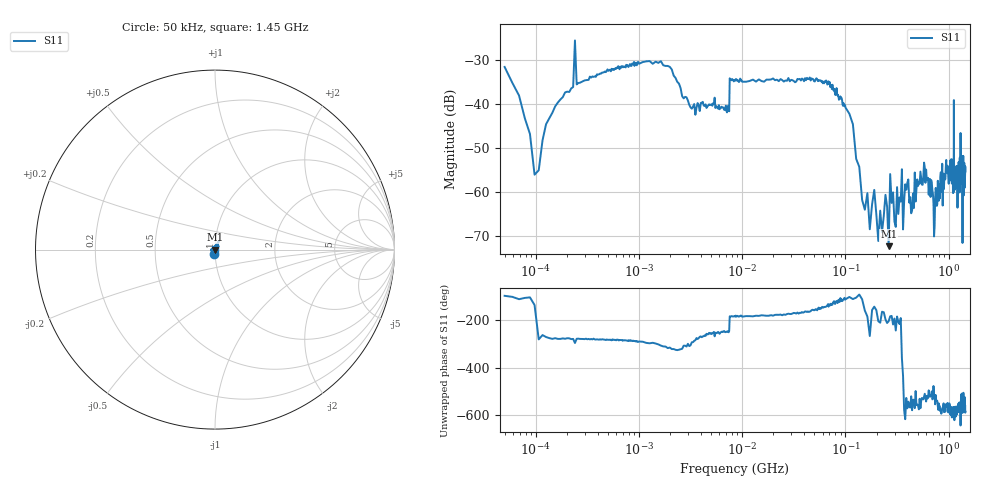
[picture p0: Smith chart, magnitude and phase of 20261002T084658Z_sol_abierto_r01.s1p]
! piloto_deriva / sol_abierto / r01
# HZ S RI R 50
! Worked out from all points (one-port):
!   501 points, 50 kHz to 1.45 GHz, reference 50 ohm
!   lowest |S11| = -72.3 dB at 262 MHz (marker M1), VSWR 1.00, Z = 50 + j0.0098 ohm
!   |S11| at or under -10 dB: start of sweep to end of sweep
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50000  -0.00308 -0.0262
97500  -0.00113 -0.00111
183000  0.00126 0.0119
658000  0.00586 0.0257
1630000  0.0182 0.0247
2440000  0.0138 0.0101
3340000  0.0035 0.0087
7030000  -0.00306 0.00782
8560000  -0.0189 0.00147
3.16e7  -0.0179 -0.00355
7.03e7  -0.0128 -0.0124
1.18e8  -0.00207 -0.00554
1.63e8  -0.000973 6.5e-05
2.17e8  -0.000534 0.000308
2.62e8  -0.000223 9.8e-05
4.06e8  -0.00139 6.3e-05
4.42e8  -0.000485 0.000389
5.86e8  -0.00164 -0.00097
7.21e8  -0.000287 -0.000128
9.55e8  -0.00164 0.00042
1.108e9  -0.00117 0.000764
1.1305e9  -0.000675 0.00136
1.1395e9  -0.00106 0.00073
1.216e9  -0.000444 0.000497
1.297e9  -0.00152 0.000753
1.369e9  -0.0017 -2.9e-05
1.3735e9  -0.00142 -0.00039
1.45e9  -0.00121 0.00121
